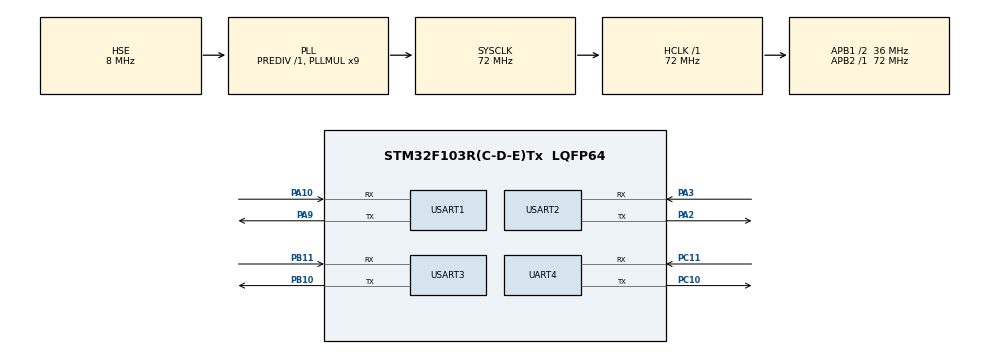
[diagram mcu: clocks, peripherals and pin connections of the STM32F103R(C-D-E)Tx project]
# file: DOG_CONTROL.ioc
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Mcu.Family=STM32F1
Mcu.Name=STM32F103R(C-D-E)Tx
Mcu.Package=LQFP64
NVIC.PriorityGroup=NVIC_PRIORITYGROUP_4
NVIC.TIM6_IRQn=true\:0\:0\:false\:false\:true\:true\:true
PA10.Mode=Asynchronous
PA10.Signal=USART1_RX
PA13.Mode=Serial_Wire
PA13.Signal=SYS_JTMS-SWDIO
PA14.Mode=Serial_Wire
PA14.Signal=SYS_JTCK-SWCLK
PA2.Mode=Asynchronous
PA2.Signal=USART2_TX
PA3.Mode=Asynchronous
PA3.Signal=USART2_RX
PA9.Mode=Asynchronous
PA9.Signal=USART1_TX
PB10.Mode=Asynchronous
PB10.Signal=USART3_TX
PB11.Mode=Asynchronous
PB11.Signal=USART3_RX
PC10.Mode=Asynchronous
PC10.Signal=UART4_TX
PC11.Mode=Asynchronous
PC11.Signal=UART4_RX
PD0-OSC_IN.Mode=HSE-External-Oscillator
PD0-OSC_IN.Signal=RCC_OSC_IN
PD1-OSC_OUT.Mode=HSE-External-Oscillator
PD1-OSC_OUT.Signal=RCC_OSC_OUT
ProjectManager.HeapSize=0x200
ProjectManager.StackSize=0x400
ProjectManager.TargetToolchain=MDK-ARM V5.27
RCC.AHBFreq_Value=72000000
RCC.APB1CLKDivider=RCC_HCLK_DIV2
RCC.APB1Freq_Value=36000000
RCC.APB1TimFreq_Value=72000000
RCC.APB2Freq_Value=72000000
RCC.APB2TimFreq_Value=72000000
RCC.HCLKFreq_Value=72000000
RCC.PLLMUL=RCC_PLL_MUL9
RCC.PLLSourceVirtual=RCC_PLLSOURCE_HSE
RCC.SYSCLKFreq_VALUE=72000000
RCC.SYSCLKSource=RCC_SYSCLKSOURCE_PLLCLK
RCC.USBFreq_Value=72000000
TIM6.AutoReloadPreload=TIM_AUTORELOAD_PRELOAD_ENABLE
TIM6.Period=5000-1
TIM6.Prescaler=72-1
UART4.VirtualMode=Asynchronous
USART1.VirtualMode=VM_ASYNC
USART2.VirtualMode=VM_ASYNC
USART3.VirtualMode=VM_ASYNC
VP_TIM6_VS_ClockSourceINT.Mode=Enable_Timer
board=custom

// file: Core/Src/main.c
/* USER CODE BEGIN Header */
/**
  ******************************************************************************
  * @file           : main.c
  * @brief          : Main program body
  ******************************************************************************
  * @attention
  *
  * <h2><center>&copy; Copyright (c) 2022 STMicroelectronics.
  * All rights reserved.</center></h2>
  *
  * This software component is licensed by ST under BSD 3-Clause license,
  * the "License"; You may not use this file except in compliance with the
  * License. You may obtain a copy of the License at:
  *                        opensource.org/licenses/BSD-3-Clause
  *
  ******************************************************************************
  */
/* USER CODE END Header */
#include "main.h"
#include "tim.h"
#include "usart.h"
#include "gpio.h"

/* USER CODE BEGIN Includes */
#include "stdio.h"
#include "trot.h"
/* USER CODE END Includes */

/* USER CODE BEGIN PV */
char tbuf[4][20] = {0};
char t_buf[20] = {0};
uint8_t test[] = "2,3\r\n";
float theta1[4]={0};
float theta2[4]={0};
float a=2.2,b=3.0;
int speed=2;
/* USER CODE END PV */

void SystemClock_Config(void);

int main(void)
{

  /* MCU Configuration--------------------------------------------------------*/

  /* Reset of all peripherals, Initializes the Flash interface and the Systick. */
  HAL_Init();

  /* Configure the system clock */
  SystemClock_Config();

  /* Initialize all configured peripherals */
  MX_GPIO_Init();
  MX_USART1_UART_Init();
  MX_USART2_UART_Init();
  MX_TIM6_Init();
  MX_UART4_Init();
  MX_USART3_UART_Init();
  /* USER CODE BEGIN 2 */
	HAL_TIM_Base_Start_IT(&htim6);  //开启定时器6-->5ms
  /* USER CODE END 2 */

  /* Infinite loop */
  /* USER CODE BEGIN WHILE */
	HAL_Delay(500);
  while (1)
  {

		HAL_Delay(10);
    /* USER CODE END WHILE */

  }
}

void SystemClock_Config(void)
{
  RCC_OscInitTypeDef RCC_OscInitStruct = {0};
  RCC_ClkInitTypeDef RCC_ClkInitStruct = {0};

  /** Initializes the RCC Oscillators according to the specified parameters
  * in the RCC_OscInitTypeDef structure.
  */
  RCC_OscInitStruct.OscillatorType = RCC_OSCILLATORTYPE_HSE;
  RCC_OscInitStruct.HSEState = RCC_HSE_ON;
  RCC_OscInitStruct.HSEPredivValue = RCC_HSE_PREDIV_DIV1;
  RCC_OscInitStruct.HSIState = RCC_HSI_ON;
  RCC_OscInitStruct.PLL.PLLState = RCC_PLL_ON;
  RCC_OscInitStruct.PLL.PLLSource = RCC_PLLSOURCE_HSE;
  RCC_OscInitStruct.PLL.PLLMUL = RCC_PLL_MUL9;
  if (HAL_RCC_OscConfig(&RCC_OscInitStruct) != HAL_OK)
  {
    Error_Handler();
  }
  /** Initializes the CPU, AHB and APB buses clocks
  */
  RCC_ClkInitStruct.ClockType = RCC_CLOCKTYPE_HCLK|RCC_CLOCKTYPE_SYSCLK
                              |RCC_CLOCKTYPE_PCLK1|RCC_CLOCKTYPE_PCLK2;
  RCC_ClkInitStruct.SYSCLKSource = RCC_SYSCLKSOURCE_PLLCLK;
  RCC_ClkInitStruct.AHBCLKDivider = RCC_SYSCLK_DIV1;
  RCC_ClkInitStruct.APB1CLKDivider = RCC_HCLK_DIV2;
  RCC_ClkInitStruct.APB2CLKDivider = RCC_HCLK_DIV1;

  if (HAL_RCC_ClockConfig(&RCC_ClkInitStruct, FLASH_LATENCY_2) != HAL_OK)
  {
    Error_Handler();
  }
}

/* USER CODE BEGIN 4 */
void HAL_TIM_PeriodElapsedCallback(TIM_HandleTypeDef *htim)
{

	if(htim == &htim6)   //5ms
	{
		t=t+0.001*speed;
		if(t>=Ts)
			t=0;
		trot();
		ik();

		sprintf(tbuf[0],"%f,%f\r\n",sita1_1,sita2_1);
		HAL_UART_Transmit(&huart1, tbuf[0], strlen(tbuf[0]), 0xff);
		sprintf(tbuf[1],"%f,%f\r\n",sita1_2,sita2_2);
		HAL_UART_Transmit(&huart2, tbuf[1], strlen(tbuf[1]), 0xff);
	}
}
/* USER CODE END 4 */

void Error_Handler(void)
{
}

/************************ (C) COPYRIGHT STMicroelectronics *****END OF FILE****/
